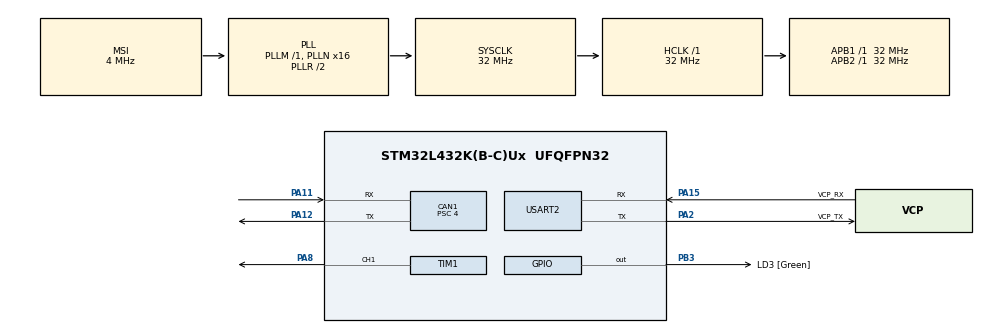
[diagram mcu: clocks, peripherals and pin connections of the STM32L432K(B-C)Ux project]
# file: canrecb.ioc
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CAN1.AWUM=ENABLE
CAN1.BS1=CAN_BS1_15TQ
CAN1.BS2=CAN_BS2_2TQ
CAN1.CalculateBaudRate=444444
CAN1.CalculateTimeBit=2250
CAN1.CalculateTimeQuantum=125.0
CAN1.Mode=CAN_MODE_NORMAL
CAN1.Prescaler=4
Mcu.Family=STM32L4
Mcu.Name=STM32L432K(B-C)Ux
Mcu.Package=UFQFPN32
NVIC.CAN1_RX0_IRQn=true\:0\:0\:false\:false\:true\:true\:true\:true
NVIC.CAN1_RX1_IRQn=true\:0\:0\:false\:false\:true\:true\:true\:true
NVIC.CAN1_SCE_IRQn=true\:0\:0\:false\:false\:true\:true\:true\:true
NVIC.CAN1_TX_IRQn=true\:0\:0\:false\:false\:true\:true\:true\:true
NVIC.PriorityGroup=NVIC_PRIORITYGROUP_4
PA0.GPIO_Label=MCO [High speed clock in]
PA0.Mode=HSE-External-Clock-Source-for-LittleOrca
PA0.Signal=RCC_CK_IN
PA11.GPIO_PuPd=GPIO_NOPULL
PA11.Mode=CAN_Activate
PA11.Signal=CAN1_RX
PA12.Mode=CAN_Activate
PA12.Signal=CAN1_TX
PA13\ (JTMS-SWDIO).GPIO_Label=SWDIO
PA13\ (JTMS-SWDIO).Mode=Serial_Wire
PA13\ (JTMS-SWDIO).Signal=SYS_JTMS-SWDIO
PA14\ (JTCK-SWCLK).GPIO_Label=SWCLK
PA14\ (JTCK-SWCLK).Mode=Serial_Wire
PA14\ (JTCK-SWCLK).Signal=SYS_JTCK-SWCLK
PA15\ (JTDI).GPIO_Label=VCP_RX
PA15\ (JTDI).Mode=Asynchronous
PA15\ (JTDI).Signal=USART2_RX
PA2.GPIO_Label=VCP_TX
PA2.Mode=Asynchronous
PA2.Signal=USART2_TX
PA8.Signal=S_TIM1_CH1
PB3\ (JTDO-TRACESWO).GPIO_Label=LD3 [Green]
PB3\ (JTDO-TRACESWO).Signal=GPIO_Output
PC14-OSC32_IN\ (PC14).Mode=LSE-External-Oscillator
PC14-OSC32_IN\ (PC14).Signal=RCC_OSC32_IN
PC15-OSC32_OUT\ (PC15).Mode=LSE-External-Oscillator
PC15-OSC32_OUT\ (PC15).Signal=RCC_OSC32_OUT
ProjectManager.HeapSize=0x200
ProjectManager.StackSize=0x400
ProjectManager.TargetToolchain=STM32CubeIDE
RCC.AHBFreq_Value=32000000
RCC.APB1Freq_Value=32000000
RCC.APB1TimFreq_Value=32000000
RCC.APB2Freq_Value=32000000
RCC.APB2TimFreq_Value=32000000
RCC.CortexFreq_Value=32000000
RCC.HCLKFreq_Value=32000000
RCC.HSE_VALUE=8000000
RCC.HSI16_VALUE=16000000
RCC.HSI48_VALUE=48000000
RCC.HSI_VALUE=16000000
RCC.MSI_VALUE=4000000
RCC.PLLMUL=RCC_PLLMUL_4
RCC.PLLN=16
RCC.SYSCLKFreq_VALUE=32000000
RCC.SYSCLKSource=RCC_SYSCLKSOURCE_PLLCLK
RCC.VCOOutputFreq_Value=64000000
SH.S_TIM1_CH1.0=TIM1_CH1,Output Compare1 CH1
TIM1.Channel-Output\ Compare1\ CH1=TIM_CHANNEL_1
TIM1.OCMode_1=TIM_OCMODE_TOGGLE
TIM1.Prescaler=3 - 1
USART2.VirtualMode-Asynchronous=VM_ASYNC
VP_TIM1_VS_ClockSourceINT.Mode=Internal
board=NUCLEO-L432KC

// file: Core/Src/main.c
/* USER CODE BEGIN Header */
/**
  ******************************************************************************
  * @file           : main.c
  * @brief          : Main program body
  ******************************************************************************
  * @attention
  *
  * Copyright (c) 2024 STMicroelectronics.
  * All rights reserved.
  *
  * This software is licensed under terms that can be found in the LICENSE file
  * in the root directory of this software component.
  * If no LICENSE file comes with this software, it is provided AS-IS.
  *
  ******************************************************************************
  */
/* USER CODE END Header */
#include "main.h"

/* USER CODE BEGIN Includes */
#include <string.h>
#include <stdio.h>
/* USER CODE END Includes */

/* USER CODE BEGIN PTD */
void SendCANBrandAlarm(int value);
/* USER CODE END PTD */

CAN_HandleTypeDef hcan1;

TIM_HandleTypeDef htim1;

UART_HandleTypeDef huart2;

void SystemClock_Config(void);
static void MX_GPIO_Init(void);
static void MX_USART2_UART_Init(void);
static void MX_CAN1_Init(void);
static void MX_TIM1_Init(void);

/* USER CODE BEGIN 0 */

CAN_RxHeaderTypeDef msg2;
  uint8_t data2[8];

  char newLine[6] = "\n\r";
  char test[] = "test\r\n";
  char test2[] = "test2\r\n";

  float temperature;
  float humidity;
  char temperatuurTekst[50];
  char luchtvochtigheidTekst[50];
  int brandAlarm = 0;

/* USER CODE END 0 */

int main(void)
{

  /* MCU Configuration--------------------------------------------------------*/

  /* Reset of all peripherals, Initializes the Flash interface and the Systick. */
  HAL_Init();

  /* Configure the system clock */
  SystemClock_Config();

  /* Initialize all configured peripherals */
  MX_GPIO_Init();
  MX_USART2_UART_Init();
  MX_CAN1_Init();
  MX_TIM1_Init();
  /* USER CODE BEGIN 2 */

  HAL_TIM_OC_Start(&htim1, TIM_CHANNEL_1);
  __HAL_TIM_SET_AUTORELOAD(&htim1, 0);

  /* USER CODE END 2 */

  /* Infinite loop */
    while (1)
    {

    }
}

void SystemClock_Config(void)
{
  RCC_OscInitTypeDef RCC_OscInitStruct = {0};
  RCC_ClkInitTypeDef RCC_ClkInitStruct = {0};

  /** Configure the main internal regulator output voltage
  */
  if (HAL_PWREx_ControlVoltageScaling(PWR_REGULATOR_VOLTAGE_SCALE1) != HAL_OK)
  {
    Error_Handler();
  }

  /** Configure LSE Drive Capability
  */
  HAL_PWR_EnableBkUpAccess();
  __HAL_RCC_LSEDRIVE_CONFIG(RCC_LSEDRIVE_LOW);

  /** Initializes the RCC Oscillators according to the specified parameters
  * in the RCC_OscInitTypeDef structure.
  */
  RCC_OscInitStruct.OscillatorType = RCC_OSCILLATORTYPE_LSE|RCC_OSCILLATORTYPE_MSI;
  RCC_OscInitStruct.LSEState = RCC_LSE_ON;
  RCC_OscInitStruct.MSIState = RCC_MSI_ON;
  RCC_OscInitStruct.MSICalibrationValue = 0;
  RCC_OscInitStruct.MSIClockRange = RCC_MSIRANGE_6;
  RCC_OscInitStruct.PLL.PLLState = RCC_PLL_ON;
  RCC_OscInitStruct.PLL.PLLSource = RCC_PLLSOURCE_MSI;
  RCC_OscInitStruct.PLL.PLLM = 1;
  RCC_OscInitStruct.PLL.PLLN = 16;
  RCC_OscInitStruct.PLL.PLLP = RCC_PLLP_DIV7;
  RCC_OscInitStruct.PLL.PLLQ = RCC_PLLQ_DIV2;
  RCC_OscInitStruct.PLL.PLLR = RCC_PLLR_DIV2;
  if (HAL_RCC_OscConfig(&RCC_OscInitStruct) != HAL_OK)
  {
    Error_Handler();
  }

  /** Initializes the CPU, AHB and APB buses clocks
  */
  RCC_ClkInitStruct.ClockType = RCC_CLOCKTYPE_HCLK|RCC_CLOCKTYPE_SYSCLK
                              |RCC_CLOCKTYPE_PCLK1|RCC_CLOCKTYPE_PCLK2;
  RCC_ClkInitStruct.SYSCLKSource = RCC_SYSCLKSOURCE_PLLCLK;
  RCC_ClkInitStruct.AHBCLKDivider = RCC_SYSCLK_DIV1;
  RCC_ClkInitStruct.APB1CLKDivider = RCC_HCLK_DIV1;
  RCC_ClkInitStruct.APB2CLKDivider = RCC_HCLK_DIV1;

  if (HAL_RCC_ClockConfig(&RCC_ClkInitStruct, FLASH_LATENCY_1) != HAL_OK)
  {
    Error_Handler();
  }

  /** Enable MSI Auto calibration
  */
  HAL_RCCEx_EnableMSIPLLMode();
}

static void MX_CAN1_Init(void)
{

  /* USER CODE BEGIN CAN1_Init 1 */

	  hcan1.Instance = CAN1;
	  hcan1.Init.Prescaler = 4;
	  hcan1.Init.Mode = CAN_MODE_NORMAL;
	  hcan1.Init.SyncJumpWidth = CAN_SJW_1TQ;
	  hcan1.Init.TimeSeg1 = CAN_BS1_15TQ;
	  hcan1.Init.TimeSeg2 = CAN_BS2_2TQ;
	  hcan1.Init.TimeTriggeredMode = DISABLE;
	  hcan1.Init.AutoBusOff = DISABLE;
	  hcan1.Init.AutoWakeUp = ENABLE;
	  hcan1.Init.AutoRetransmission = DISABLE;
	  hcan1.Init.ReceiveFifoLocked = DISABLE;
	  hcan1.Init.TransmitFifoPriority = DISABLE;

	  if (HAL_CAN_Init(&hcan1) != HAL_OK)
	  {
	    Error_Handler();
	  }

  /* USER CODE END CAN1_Init 1 */

  /* USER CODE BEGIN CAN1_Init 2 */
  CAN_FilterTypeDef sFilterConfig;

     sFilterConfig.FilterBank = 0;
     sFilterConfig.FilterMode = CAN_FILTERMODE_IDMASK;
     sFilterConfig.FilterScale = CAN_FILTERSCALE_32BIT;
     sFilterConfig.FilterIdHigh = 0x0000;
     sFilterConfig.FilterIdLow = 0x0000;
     sFilterConfig.FilterMaskIdHigh = 0x0000;
     sFilterConfig.FilterMaskIdLow = 0x0000;
     sFilterConfig.FilterFIFOAssignment = CAN_RX_FIFO0;
     sFilterConfig.FilterActivation = ENABLE;
     sFilterConfig.SlaveStartFilterBank = 0;

     if (HAL_CAN_ConfigFilter(&hcan1, &sFilterConfig) != HAL_OK) {
       Error_Handler();
     }

     if (HAL_CAN_Start(&hcan1) != HAL_OK) {
       Error_Handler();
     }

     if (HAL_CAN_ActivateNotification(&hcan1, CAN_IT_RX_FIFO0_MSG_PENDING | CAN_IT_TX_MAILBOX_EMPTY) != HAL_OK)
     {
     /* Notification Error */
     Error_Handler();
     }

  /* USER CODE END CAN1_Init 2 */

}

static void MX_TIM1_Init(void)
{

  TIM_ClockConfigTypeDef sClockSourceConfig = {0};
  TIM_MasterConfigTypeDef sMasterConfig = {0};
  TIM_OC_InitTypeDef sConfigOC = {0};
  TIM_BreakDeadTimeConfigTypeDef sBreakDeadTimeConfig = {0};

  htim1.Instance = TIM1;
  htim1.Init.Prescaler = 3 - 1;
  htim1.Init.CounterMode = TIM_COUNTERMODE_UP;
  htim1.Init.Period = 65535;
  htim1.Init.ClockDivision = TIM_CLOCKDIVISION_DIV1;
  htim1.Init.RepetitionCounter = 0;
  htim1.Init.AutoReloadPreload = TIM_AUTORELOAD_PRELOAD_DISABLE;
  if (HAL_TIM_Base_Init(&htim1) != HAL_OK)
  {
    Error_Handler();
  }
  sClockSourceConfig.ClockSource = TIM_CLOCKSOURCE_INTERNAL;
  if (HAL_TIM_ConfigClockSource(&htim1, &sClockSourceConfig) != HAL_OK)
  {
    Error_Handler();
  }
  if (HAL_TIM_OC_Init(&htim1) != HAL_OK)
  {
    Error_Handler();
  }
  sMasterConfig.MasterOutputTrigger = TIM_TRGO_RESET;
  sMasterConfig.MasterOutputTrigger2 = TIM_TRGO2_RESET;
  sMasterConfig.MasterSlaveMode = TIM_MASTERSLAVEMODE_DISABLE;
  if (HAL_TIMEx_MasterConfigSynchronization(&htim1, &sMasterConfig) != HAL_OK)
  {
    Error_Handler();
  }
  sConfigOC.OCMode = TIM_OCMODE_TOGGLE;
  sConfigOC.Pulse = 0;
  sConfigOC.OCPolarity = TIM_OCPOLARITY_HIGH;
  sConfigOC.OCNPolarity = TIM_OCNPOLARITY_HIGH;
  sConfigOC.OCFastMode = TIM_OCFAST_DISABLE;
  sConfigOC.OCIdleState = TIM_OCIDLESTATE_RESET;
  sConfigOC.OCNIdleState = TIM_OCNIDLESTATE_RESET;
  if (HAL_TIM_OC_ConfigChannel(&htim1, &sConfigOC, TIM_CHANNEL_1) != HAL_OK)
  {
    Error_Handler();
  }
  sBreakDeadTimeConfig.OffStateRunMode = TIM_OSSR_DISABLE;
  sBreakDeadTimeConfig.OffStateIDLEMode = TIM_OSSI_DISABLE;
  sBreakDeadTimeConfig.LockLevel = TIM_LOCKLEVEL_OFF;
  sBreakDeadTimeConfig.DeadTime = 0;
  sBreakDeadTimeConfig.BreakState = TIM_BREAK_DISABLE;
  sBreakDeadTimeConfig.BreakPolarity = TIM_BREAKPOLARITY_HIGH;
  sBreakDeadTimeConfig.BreakFilter = 0;
  sBreakDeadTimeConfig.Break2State = TIM_BREAK2_DISABLE;
  sBreakDeadTimeConfig.Break2Polarity = TIM_BREAK2POLARITY_HIGH;
  sBreakDeadTimeConfig.Break2Filter = 0;
  sBreakDeadTimeConfig.AutomaticOutput = TIM_AUTOMATICOUTPUT_DISABLE;
  if (HAL_TIMEx_ConfigBreakDeadTime(&htim1, &sBreakDeadTimeConfig) != HAL_OK)
  {
    Error_Handler();
  }
  HAL_TIM_MspPostInit(&htim1);

}

static void MX_USART2_UART_Init(void)
{

  huart2.Instance = USART2;
  huart2.Init.BaudRate = 115200;
  huart2.Init.WordLength = UART_WORDLENGTH_8B;
  huart2.Init.StopBits = UART_STOPBITS_1;
  huart2.Init.Parity = UART_PARITY_NONE;
  huart2.Init.Mode = UART_MODE_TX_RX;
  huart2.Init.HwFlowCtl = UART_HWCONTROL_NONE;
  huart2.Init.OverSampling = UART_OVERSAMPLING_16;
  huart2.Init.OneBitSampling = UART_ONE_BIT_SAMPLE_DISABLE;
  huart2.AdvancedInit.AdvFeatureInit = UART_ADVFEATURE_NO_INIT;
  if (HAL_UART_Init(&huart2) != HAL_OK)
  {
    Error_Handler();
  }

}

static void MX_GPIO_Init(void)
{
  GPIO_InitTypeDef GPIO_InitStruct = {0};

  /* GPIO Ports Clock Enable */
  __HAL_RCC_GPIOC_CLK_ENABLE();
  __HAL_RCC_GPIOA_CLK_ENABLE();
  __HAL_RCC_GPIOB_CLK_ENABLE();

  /*Configure GPIO pin Output Level */
  HAL_GPIO_WritePin(LD3_GPIO_Port, LD3_Pin, GPIO_PIN_RESET);

  /*Configure GPIO pin : LD3_Pin */
  GPIO_InitStruct.Pin = LD3_Pin;
  GPIO_InitStruct.Mode = GPIO_MODE_OUTPUT_PP;
  GPIO_InitStruct.Pull = GPIO_NOPULL;
  GPIO_InitStruct.Speed = GPIO_SPEED_FREQ_LOW;
  HAL_GPIO_Init(LD3_GPIO_Port, &GPIO_InitStruct);

}

/* USER CODE BEGIN 4 */

/**
 * STM test functie om een test bericht via CAN te sturen om het brandalarm aan te zetten.
 */
void SendCANBrandAlarm(int value){
	uint32_t mb;
	CAN_TxHeaderTypeDef msg;
    uint8_t data[8] = {0};

    // Config CAN bericht
    msg.StdId = 0x02;
    msg.IDE = CAN_ID_STD;
    msg.RTR = CAN_RTR_DATA;
    msg.DLC = 1;
    msg.TransmitGlobalTime = DISABLE;

	data[0] = value;
	if (HAL_CAN_AddTxMessage(&hcan1, &msg, data, &mb) != HAL_OK) {	//stuur status van deuren
		Error_Handler();
	}
}

/**
 * Interrupt functie wanneer er een bericht via CAN binnenkomt
 *
 */
void HAL_CAN_RxFifo0MsgPendingCallback(CAN_HandleTypeDef *hcan){
	if (HAL_CAN_GetRxMessage(&hcan1, CAN_RX_FIFO0, &msg2, data2) == HAL_OK){
		if(msg2.StdId == 0x05){
		  //HAL_GPIO_TogglePin(GPIOB, GPIO_PIN_3);
  		  memcpy(&temperature, data2, sizeof(data2));

  		  sprintf(temperatuurTekst, "Temperatuur: %.2f°C\n\r", temperature);

  	      HAL_UART_Transmit(&huart2, (uint8_t*)newLine, strlen(newLine), HAL_MAX_DELAY);
	      HAL_UART_Transmit(&huart2, (uint8_t*)temperatuurTekst, strlen(temperatuurTekst), 100);

		    if(temperature > 26){ //logica op de pi
		    	HAL_GPIO_TogglePin(GPIOB, GPIO_PIN_3);
		    	SendCANBrandAlarm(1);
		    }
		    else if(temperature<26){
		    	SendCANBrandAlarm(0);
		    }
		}
		if(msg2.StdId == 0x06){
			memcpy(&humidity, data2, sizeof(data2));
			sprintf(luchtvochtigheidTekst, "Luchtvochtigheid: %.2f%%\n\r", humidity);

	  	      HAL_UART_Transmit(&huart2, (uint8_t*)newLine, strlen(newLine), HAL_MAX_DELAY);
		      HAL_UART_Transmit(&huart2, (uint8_t*)luchtvochtigheidTekst, strlen(luchtvochtigheidTekst), 100);
		      HAL_GPIO_TogglePin(GPIOB, GPIO_PIN_3);
		}
	}
}

/* USER CODE END 4 */

void Error_Handler(void)
{
  __disable_irq();
  while (1)
  {
  }
}
